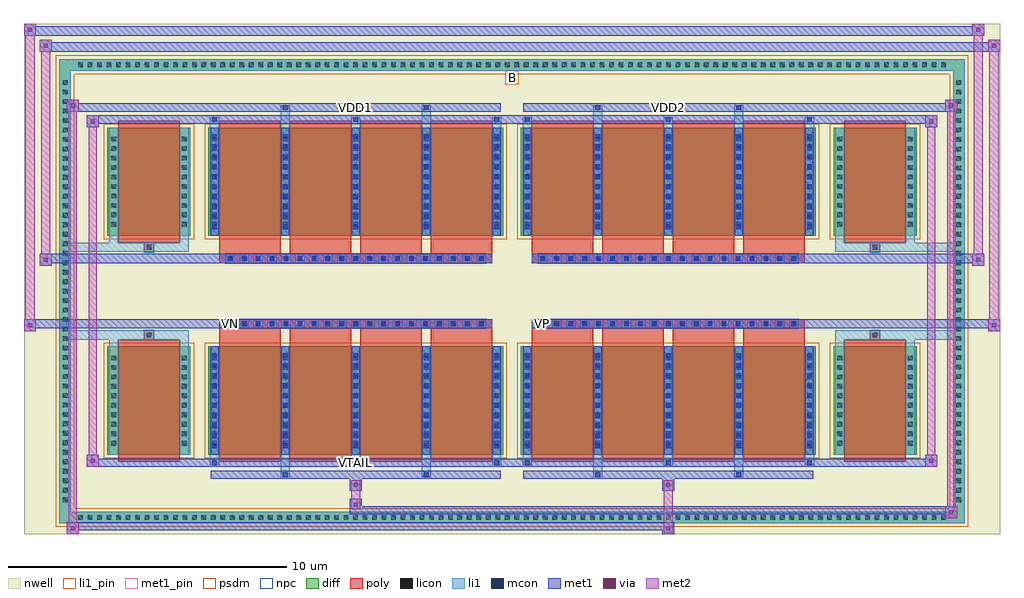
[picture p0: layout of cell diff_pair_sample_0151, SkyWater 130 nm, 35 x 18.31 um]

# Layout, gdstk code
import gdstk
lib = gdstk.Library(unit=1e-6, precision=5e-09)
def R(c, l, rs):  # rectangles x0, y0, x1, y1
    for r in rs: c.add(gdstk.rectangle(r[:2], r[2:], *l))
def A(c, l, x, y, w, h, nx, ny, dx, dy):  # array of equal rectangles
    R(c, l, [(x+i*dx, y+j*dy, x+i*dx+w, y+j*dy+h) for i in range(nx) for j in range(ny)])
def P(c, l, *ps):  # polygons
    for p in ps: c.add(gdstk.Polygon(p, *l))
nwell = (64, 20)
diff = (65, 20)
poly = (66, 20)
licon = (66, 44)
li1_pin = (67, 16)
li1 = (67, 20)
mcon = (67, 44)
met1_pin = (68, 16)
met1 = (68, 20)
via = (68, 44)
met2 = (69, 20)
psdm = (94, 20)
npc = (95, 20)

diff_pair_sample_0151 = lib.new_cell('diff_pair_sample_0151')
R(diff_pair_sample_0151, nwell, [(-17.5,-8.72,17.5,9.59), (-14.82,-6.91,-0.01,-0.805), (0.01,-6.91,14.82,-0.805), (-14.82,0.805,-0.01,6.91), (0.01,0.805,14.82,6.91)])
A(diff_pair_sample_0151, diff, -15.675, -8.32, 0.41, 0.41, 92, 2, 0.34, 16.23)
A(diff_pair_sample_0151, diff, -16.23, -7.685, 0.41, 0.41, 1, 45, 0, 0.34)
A(diff_pair_sample_0151, diff, 15.82, -7.685, 0.41, 0.41, 1, 45, 0, 0.34)
R(diff_pair_sample_0151, diff, [(-15.675,-8.32,15.675,-7.91), (-16.23,-7.685,-15.82,7.685), (15.82,-7.685,16.23,7.685), (-14.51,-5.865,-11.53,-1.985), (-10.89,-5.865,-0.32,-1.985), (0.32,-5.865,10.89,-1.985), (11.53,-5.865,14.51,-1.985), (-14.51,1.985,-11.53,5.865), (-10.89,1.985,-0.32,5.865), (0.32,1.985,10.89,5.865), (11.53,1.985,14.51,5.865), (-15.675,7.91,15.675,8.32)])
P(diff_pair_sample_0151, diff, [(16.23,8.32),(-16.23,8.32),(-16.23,-7.91),(-15.82,-7.91),(-15.82,7.91),(15.82,7.91),(15.82,-7.91),(-15.82,-7.91),(-16.23,-7.91),(-16.23,-8.32),(16.23,-8.32)])
A(diff_pair_sample_0151, poly, -10.5, -6.115, 2.2, 4.38, 4, 2, 2.53, 7.85)
A(diff_pair_sample_0151, poly, 0.71, -6.115, 2.2, 4.38, 4, 2, 2.53, 7.85)
A(diff_pair_sample_0151, poly, -10.5, -1.735, 2.2, 0.4, 4, 2, 2.53, 3.07)
A(diff_pair_sample_0151, poly, 0.71, -1.735, 2.2, 0.4, 4, 2, 2.53, 3.07)
A(diff_pair_sample_0151, poly, -10.27, -1.335, 0.33, 0.33, 19, 2, 0.5, 2.34)
A(diff_pair_sample_0151, poly, 0.94, -1.335, 0.33, 0.33, 19, 2, 0.5, 2.34)
R(diff_pair_sample_0151, poly, [(-14.12,-6.115,-11.92,-1.735), (11.92,-6.115,14.12,-1.735), (-13.185,-1.735,-12.855,-1.405), (-13.185,-1.735,-12.855,-1.405), (12.855,-1.735,13.185,-1.405), (12.855,-1.735,13.185,-1.405), (-10.5,-1.335,-0.71,-1.005), (0.71,-1.335,10.5,-1.005), (-10.5,1.005,-0.71,1.335), (0.71,1.005,10.5,1.335), (-13.185,1.405,-12.855,1.735), (-13.185,1.405,-12.855,1.735), (12.855,1.405,13.185,1.735), (12.855,1.405,13.185,1.735), (-14.12,1.735,-11.92,6.115), (11.92,1.735,14.12,6.115)])
A(diff_pair_sample_0151, licon, -15.555, -8.2, 0.17, 0.17, 92, 2, 0.34, 16.23)
A(diff_pair_sample_0151, licon, -16.11, -7.565, 0.17, 0.17, 1, 45, 0, 0.34)
A(diff_pair_sample_0151, licon, 15.94, -7.565, 0.17, 0.17, 1, 45, 0, 0.34)
A(diff_pair_sample_0151, licon, -14.37, -5.54, 0.17, 0.17, 1, 10, 0, 0.34)
A(diff_pair_sample_0151, licon, -11.84, -5.54, 0.17, 0.17, 1, 10, 0, 0.34)
A(diff_pair_sample_0151, licon, -10.75, -5.54, 0.17, 0.17, 5, 10, 2.53, 0.34)
A(diff_pair_sample_0151, licon, 0.46, -5.54, 0.17, 0.17, 5, 10, 2.53, 0.34)
A(diff_pair_sample_0151, licon, 11.67, -5.54, 0.17, 0.17, 1, 10, 0, 0.34)
A(diff_pair_sample_0151, licon, 14.2, -5.54, 0.17, 0.17, 1, 10, 0, 0.34)
A(diff_pair_sample_0151, licon, -10.19, -1.255, 0.17, 0.17, 19, 2, 0.5, 2.34)
A(diff_pair_sample_0151, licon, 1.02, -1.255, 0.17, 0.17, 19, 2, 0.5, 2.34)
A(diff_pair_sample_0151, licon, -14.37, 2.31, 0.17, 0.17, 1, 10, 0, 0.34)
A(diff_pair_sample_0151, licon, -11.84, 2.31, 0.17, 0.17, 1, 10, 0, 0.34)
A(diff_pair_sample_0151, licon, -10.75, 2.31, 0.17, 0.17, 5, 10, 2.53, 0.34)
A(diff_pair_sample_0151, licon, 0.46, 2.31, 0.17, 0.17, 5, 10, 2.53, 0.34)
A(diff_pair_sample_0151, licon, 11.67, 2.31, 0.17, 0.17, 1, 10, 0, 0.34)
A(diff_pair_sample_0151, licon, 14.2, 2.31, 0.17, 0.17, 1, 10, 0, 0.34)
R(diff_pair_sample_0151, licon, [(-13.105,-1.655,-12.935,-1.485), (12.935,-1.655,13.105,-1.485), (-13.105,1.485,-12.935,1.655), (12.935,1.485,13.105,1.655)])
R(diff_pair_sample_0151, li1_pin, [(-0.25,7.41,0.25,7.91)])
A(diff_pair_sample_0151, li1, -15.635, -8.28, 0.33, 0.33, 92, 2, 0.34, 16.23)
A(diff_pair_sample_0151, li1, -16.19, -7.645, 0.33, 0.33, 1, 45, 0, 0.34)
A(diff_pair_sample_0151, li1, 15.86, -7.645, 0.33, 0.33, 1, 45, 0, 0.34)
A(diff_pair_sample_0151, li1, -10.83, -6.24, 0.33, 0.375, 3, 2, 5.06, 12.105)
A(diff_pair_sample_0151, li1, -10.75, -6.24, 0.17, 0.17, 3, 2, 5.06, 12.31)
A(diff_pair_sample_0151, li1, 0.38, -6.24, 0.33, 0.375, 3, 2, 5.06, 12.105)
A(diff_pair_sample_0151, li1, 0.46, -6.24, 0.17, 0.17, 3, 2, 5.06, 12.31)
A(diff_pair_sample_0151, li1, -10.83, -5.865, 0.33, 3.88, 5, 2, 2.53, 7.85)
A(diff_pair_sample_0151, li1, 0.38, -5.865, 0.33, 3.88, 5, 2, 2.53, 7.85)
A(diff_pair_sample_0151, li1, -10.75, -5.63, 0.17, 0.17, 5, 10, 2.53, 0.36)
A(diff_pair_sample_0151, li1, -10.75, -5.63, 0.17, 3.41, 5, 2, 2.53, 7.85)
A(diff_pair_sample_0151, li1, 0.46, -5.63, 0.17, 0.17, 5, 10, 2.53, 0.36)
A(diff_pair_sample_0151, li1, 0.46, -5.63, 0.17, 3.41, 5, 2, 2.53, 7.85)
A(diff_pair_sample_0151, li1, -14.45, -5.62, 0.33, 0.33, 1, 10, 0, 0.34)
A(diff_pair_sample_0151, li1, -11.92, -5.62, 0.33, 0.33, 1, 10, 0, 0.34)
A(diff_pair_sample_0151, li1, -10.83, -5.62, 0.33, 0.33, 5, 10, 2.53, 0.34)
A(diff_pair_sample_0151, li1, 0.38, -5.62, 0.33, 0.33, 5, 10, 2.53, 0.34)
A(diff_pair_sample_0151, li1, 11.59, -5.62, 0.33, 0.33, 1, 10, 0, 0.34)
A(diff_pair_sample_0151, li1, 14.12, -5.62, 0.33, 0.33, 1, 10, 0, 0.34)
A(diff_pair_sample_0151, li1, -10.27, -1.335, 0.33, 0.33, 19, 2, 0.5, 2.34)
A(diff_pair_sample_0151, li1, 0.94, -1.335, 0.33, 0.33, 19, 2, 0.5, 2.34)
A(diff_pair_sample_0151, li1, -10.75, 2.22, 0.17, 0.17, 5, 10, 2.53, 0.36)
A(diff_pair_sample_0151, li1, 0.46, 2.22, 0.17, 0.17, 5, 10, 2.53, 0.36)
A(diff_pair_sample_0151, li1, -14.45, 2.23, 0.33, 0.33, 1, 10, 0, 0.34)
A(diff_pair_sample_0151, li1, -11.92, 2.23, 0.33, 0.33, 1, 10, 0, 0.34)
A(diff_pair_sample_0151, li1, -10.83, 2.23, 0.33, 0.33, 5, 10, 2.53, 0.34)
A(diff_pair_sample_0151, li1, 0.38, 2.23, 0.33, 0.33, 5, 10, 2.53, 0.34)
A(diff_pair_sample_0151, li1, 11.59, 2.23, 0.33, 0.33, 1, 10, 0, 0.34)
A(diff_pair_sample_0151, li1, 14.12, 2.23, 0.33, 0.33, 1, 10, 0, 0.34)
R(diff_pair_sample_0151, li1, [(-16.23,-8.32,-15.82,-7.91), (-16.23,-8.32,-15.82,-7.91), (-15.82,-8.32,15.82,-7.91), (15.82,-8.32,16.23,-7.91), (15.82,-8.32,16.23,-7.91), (-16.23,-7.91,-15.82,7.91), (15.82,-7.91,16.23,7.91), (-8.3,-6.67,-7.97,-5.865), (-8.22,-6.67,-8.05,-6.5), (-3.24,-6.67,-2.91,-5.865), (-3.16,-6.67,-2.99,-6.5), (2.91,-6.67,3.24,-5.865), (2.99,-6.67,3.16,-6.5), (7.97,-6.67,8.3,-5.865), (8.05,-6.67,8.22,-6.5), (-14.45,-5.865,-14.12,-1.985), (-11.92,-5.865,-11.59,-1.985), (11.59,-5.865,11.92,-1.985), (14.12,-5.865,14.45,-1.985), (-14.45,-1.985,-14.12,-1.405), (-11.92,-1.985,-11.59,-1.405), (11.59,-1.985,11.92,-1.405), (14.12,-1.985,14.45,-1.405), (-16.23,-1.735,-13.185,-1.405), (-14.45,-1.735,-13.185,-1.405), (-13.185,-1.735,-12.855,-1.405), (-12.855,-1.735,-11.59,-1.405), (11.59,-1.735,12.855,-1.405), (12.855,-1.735,13.185,-1.405), (12.855,-1.735,16.23,-1.405), (13.185,-1.735,14.45,-1.405), (-16.23,1.405,-13.185,1.735), (-14.45,1.405,-13.185,1.735), (-14.45,1.405,-14.12,1.985), (-13.185,1.405,-12.855,1.735), (-12.855,1.405,-11.59,1.735), (-11.92,1.405,-11.59,1.985), (11.59,1.405,12.855,1.735), (11.59,1.405,11.92,1.985), (12.855,1.405,13.185,1.735), (12.855,1.405,16.23,1.735), (13.185,1.405,14.45,1.735), (14.12,1.405,14.45,1.985), (-14.45,1.985,-14.12,5.865), (-11.92,1.985,-11.59,5.865), (11.59,1.985,11.92,5.865), (14.12,1.985,14.45,5.865), (-8.3,5.865,-7.97,6.67), (-3.24,5.865,-2.91,6.67), (2.91,5.865,3.24,6.67), (7.97,5.865,8.3,6.67), (-8.22,6.5,-8.05,6.67), (-3.16,6.5,-2.99,6.67), (2.99,6.5,3.16,6.67), (8.05,6.5,8.22,6.67), (-16.23,7.91,-15.82,8.32), (-16.23,7.91,-15.82,8.32), (-15.82,7.91,15.82,8.32), (15.82,7.91,16.23,8.32), (15.82,7.91,16.23,8.32)])
A(diff_pair_sample_0151, mcon, -10.75, -6.24, 0.17, 0.17, 3, 2, 5.06, 12.31)
A(diff_pair_sample_0151, mcon, 0.46, -6.24, 0.17, 0.17, 3, 2, 5.06, 12.31)
A(diff_pair_sample_0151, mcon, -10.75, -5.63, 0.17, 0.17, 5, 10, 2.53, 0.36)
A(diff_pair_sample_0151, mcon, 0.46, -5.63, 0.17, 0.17, 5, 10, 2.53, 0.36)
A(diff_pair_sample_0151, mcon, -10.19, -1.255, 0.17, 0.17, 19, 2, 0.5, 2.34)
A(diff_pair_sample_0151, mcon, 1.02, -1.255, 0.17, 0.17, 19, 2, 0.5, 2.34)
A(diff_pair_sample_0151, mcon, -10.75, 2.22, 0.17, 0.17, 5, 10, 2.53, 0.36)
A(diff_pair_sample_0151, mcon, 0.46, 2.22, 0.17, 0.17, 5, 10, 2.53, 0.36)
R(diff_pair_sample_0151, mcon, [(-8.22,-6.67,-8.05,-6.5), (-3.16,-6.67,-2.99,-6.5), (2.99,-6.67,3.16,-6.5), (8.05,-6.67,8.22,-6.5), (-8.22,6.5,-8.05,6.67), (-3.16,6.5,-2.99,6.67), (2.99,6.5,3.16,6.67), (8.05,6.5,8.22,6.67)])
R(diff_pair_sample_0151, met1_pin, [(-5.74,-6.28,-5.47,-6.01), (-10.24,-1.295,-9.97,-1.025), (0.97,-1.295,1.24,-1.025), (-5.74,6.46,-5.47,6.73), (5.47,6.46,5.74,6.73)])
A(diff_pair_sample_0151, met1, -10.81, -6.3, 0.29, 0.29, 3, 2, 5.06, 12.31)
A(diff_pair_sample_0151, met1, 0.4, -6.3, 0.29, 0.29, 3, 2, 5.06, 12.31)
A(diff_pair_sample_0151, met1, -10.81, -5.865, 0.29, 3.88, 5, 2, 2.53, 7.85)
A(diff_pair_sample_0151, met1, 0.4, -5.865, 0.29, 3.88, 5, 2, 2.53, 7.85)
A(diff_pair_sample_0151, met1, -10.81, -5.69, 0.29, 0.29, 5, 10, 2.53, 0.36)
A(diff_pair_sample_0151, met1, 0.4, -5.69, 0.29, 0.29, 5, 10, 2.53, 0.36)
A(diff_pair_sample_0151, met1, -10.25, -1.315, 0.29, 0.29, 19, 2, 0.5, 2.34)
A(diff_pair_sample_0151, met1, 0.96, -1.315, 0.29, 0.29, 19, 2, 0.5, 2.34)
A(diff_pair_sample_0151, met1, -10.81, 2.16, 0.29, 0.29, 5, 10, 2.53, 0.36)
A(diff_pair_sample_0151, met1, 0.4, 2.16, 0.29, 0.29, 5, 10, 2.53, 0.36)
R(diff_pair_sample_0151, met1, [(-15.96,-8.72,-15.53,-8.29), (5.39,-8.72,5.82,-8.29), (-15.96,-8.58,5.82,-8.29), (15.53,-8.15,15.96,-7.72), (-5.82,-8.01,15.96,-7.72), (-5.82,-7.87,-5.39,-7.44), (-5.82,-7.16,-5.39,-6.73), (5.39,-7.16,5.82,-6.73), (-10.81,-6.73,-0.4,-6.44), (-8.28,-6.73,-7.99,-6.44), (-3.22,-6.73,-2.93,-6.44), (0.4,-6.73,10.81,-6.44), (2.93,-6.73,3.22,-6.44), (7.99,-6.73,8.28,-6.44), (-15.25,-6.3,-14.82,-5.87), (-15.25,-6.3,-10.81,-6.01), (-10.81,-6.3,-0.4,-6.01), (-0.4,-6.3,0.4,-6.01), (0.4,-6.3,10.81,-6.01), (10.81,-6.3,15.25,-6.01), (14.82,-6.3,15.25,-5.87), (-17.5,-1.435,-17.07,-1.005), (17.07,-1.435,17.5,-1.005), (-17.5,-1.335,-0.71,-1.005), (-10.5,-1.335,-0.71,-1.005), (0.71,-1.335,10.5,-1.005), (0.71,-1.335,17.5,-1.005), (-16.93,0.905,-16.5,1.335), (16.5,0.905,16.93,1.335), (-16.93,1.005,-10.5,1.335), (-10.5,1.005,-0.71,1.335), (0.71,1.005,10.5,1.335), (10.5,1.005,16.93,1.335), (-15.25,5.87,-14.82,6.3), (14.82,5.87,15.25,6.3), (-15.25,6.01,-10.81,6.3), (-10.81,6.01,-0.4,6.3), (-0.4,6.01,0.4,6.3), (0.4,6.01,10.81,6.3), (10.81,6.01,15.25,6.3), (-15.96,6.44,-15.53,6.87), (-15.96,6.44,-10.81,6.73), (-10.81,6.44,-0.4,6.73), (-8.28,6.44,-7.99,6.73), (-3.22,6.44,-2.93,6.73), (0.4,6.44,10.81,6.73), (2.93,6.44,3.22,6.73), (7.99,6.44,8.28,6.73), (10.81,6.44,15.96,6.73), (15.53,6.44,15.96,6.87), (-16.93,8.59,-16.5,9.02), (-16.93,8.59,-14.82,8.92), (-14.82,8.59,14.82,8.92), (14.82,8.59,17.5,8.92), (17.07,8.59,17.5,9.02), (-17.5,9.16,-17.07,9.59), (-17.5,9.16,-14.82,9.49), (-14.82,9.16,14.82,9.49), (14.82,9.16,16.93,9.49), (16.5,9.16,16.93,9.59)])
R(diff_pair_sample_0151, via, [(-15.82,-8.58,-15.67,-8.43), (5.53,-8.58,5.68,-8.43), (15.67,-8.01,15.82,-7.86), (-5.68,-7.73,-5.53,-7.58), (-5.68,-7.02,-5.53,-6.87), (5.53,-7.02,5.68,-6.87), (-15.11,-6.16,-14.96,-6.01), (14.96,-6.16,15.11,-6.01), (-17.36,-1.295,-17.21,-1.145), (17.21,-1.295,17.36,-1.145), (-16.79,1.045,-16.64,1.195), (16.64,1.045,16.79,1.195), (-15.11,6.01,-14.96,6.16), (14.96,6.01,15.11,6.16), (-15.82,6.58,-15.67,6.73), (15.67,6.58,15.82,6.73), (-16.79,8.73,-16.64,8.88), (17.21,8.73,17.36,8.88), (-17.36,9.3,-17.21,9.45), (16.64,9.3,16.79,9.45)])
R(diff_pair_sample_0151, met2, [(-15.96,-8.72,-15.53,-8.29), (-15.89,-8.72,-15.6,6.87), (-15.6,-8.72,-15.53,-8.29), (-15.91,-8.67,-15.58,-8.34), (5.44,-8.67,5.77,-8.34), (5.44,-8.34,5.77,-7.11), (15.53,-8.15,15.96,-7.72), (15.6,-8.15,15.89,6.87), (15.89,-8.15,15.96,-7.72), (15.58,-8.1,15.91,-7.77), (-5.77,-7.82,-5.44,-7.49), (-5.77,-7.49,-5.44,-7.11), (-5.77,-7.11,-5.44,-6.78), (5.44,-7.11,5.77,-6.78), (-15.25,-6.3,-14.82,-5.87), (-15.18,-6.3,-14.89,6.3), (-14.89,-6.3,-14.82,-5.87), (14.82,-6.3,15.25,-5.87), (14.89,-6.3,15.18,6.3), (15.18,-6.3,15.25,-5.87), (-15.2,-6.25,-14.87,-5.92), (14.87,-6.25,15.2,-5.92), (-17.5,-1.435,-17.07,-1.005), (-17.45,-1.435,-17.12,9.59), (-17.12,-1.435,-17.07,-1.005), (17.07,-1.435,17.5,-1.005), (17.12,-1.435,17.45,9.02), (17.45,-1.435,17.5,-1.005), (-17.45,-1.385,-17.12,-1.055), (17.12,-1.385,17.45,-1.055), (-16.93,0.905,-16.5,1.335), (-16.88,0.905,-16.55,9.02), (-16.55,0.905,-16.5,1.335), (16.5,0.905,16.93,1.335), (16.55,0.905,16.88,9.59), (16.88,0.905,16.93,1.335), (-16.88,0.955,-16.55,1.285), (16.55,0.955,16.88,1.285), (-15.25,5.87,-14.82,6.3), (-14.89,5.87,-14.82,6.3), (14.82,5.87,15.25,6.3), (15.18,5.87,15.25,6.3), (-15.2,5.92,-14.87,6.25), (14.87,5.92,15.2,6.25), (-15.96,6.44,-15.53,6.87), (-15.6,6.44,-15.53,6.87), (15.53,6.44,15.96,6.87), (15.89,6.44,15.96,6.87), (-15.91,6.49,-15.58,6.82), (15.58,6.49,15.91,6.82), (-16.93,8.59,-16.5,9.02), (-16.55,8.59,-16.5,9.02), (17.07,8.59,17.5,9.02), (17.45,8.59,17.5,9.02), (-16.88,8.64,-16.55,8.97), (17.12,8.64,17.45,8.97), (-17.5,9.16,-17.07,9.59), (-17.12,9.16,-17.07,9.59), (16.5,9.16,16.93,9.59), (16.88,9.16,16.93,9.59), (-17.45,9.21,-17.12,9.54), (16.55,9.21,16.88,9.54)])
R(diff_pair_sample_0151, psdm, [(-14.64,-5.995,-11.4,-1.855), (-11.02,-5.995,-0.19,-1.855), (0.19,-5.995,11.02,-1.855), (11.4,-5.995,14.64,-1.855), (-14.64,1.855,-11.4,5.995), (-11.02,1.855,-0.19,5.995), (0.19,1.855,11.02,5.995), (11.4,1.855,14.64,5.995)])
P(diff_pair_sample_0151, psdm, [(16.36,8.45),(-16.36,8.45),(-16.36,-7.78),(-15.69,-7.78),(-15.69,7.78),(15.69,7.78),(15.69,-7.78),(-15.69,-7.78),(-16.36,-7.78),(-16.36,-8.45),(16.36,-8.45)])
A(diff_pair_sample_0151, npc, -10.29, -1.355, 0.37, 0.37, 19, 2, 0.5, 2.34)
A(diff_pair_sample_0151, npc, 0.92, -1.355, 0.37, 0.37, 19, 2, 0.5, 2.34)
R(diff_pair_sample_0151, npc, [(-13.205,-1.755,-12.835,-1.385), (12.835,-1.755,13.205,-1.385), (-10.29,-1.355,-9.42,-0.985), (-10.29,-1.355,-9.42,-0.985), (-9.79,-1.355,-8.92,-0.985), (-9.79,-1.355,-8.92,-0.985), (-9.29,-1.355,-8.42,-0.985), (-9.29,-1.355,-8.42,-0.985), (-8.79,-1.355,-7.92,-0.985), (-8.79,-1.355,-7.92,-0.985), (-8.29,-1.355,-7.42,-0.985), (-8.29,-1.355,-7.42,-0.985), (-7.79,-1.355,-6.92,-0.985), (-7.79,-1.355,-6.92,-0.985), (-7.29,-1.355,-6.42,-0.985), (-7.29,-1.355,-6.42,-0.985), (-6.79,-1.355,-5.92,-0.985), (-6.79,-1.355,-5.92,-0.985), (-6.29,-1.355,-5.42,-0.985), (-6.29,-1.355,-5.42,-0.985), (-5.79,-1.355,-4.92,-0.985), (-5.79,-1.355,-4.92,-0.985), (-5.29,-1.355,-4.42,-0.985), (-5.29,-1.355,-4.42,-0.985), (-4.79,-1.355,-3.92,-0.985), (-4.79,-1.355,-3.92,-0.985), (-4.29,-1.355,-3.42,-0.985), (-4.29,-1.355,-3.42,-0.985), (-3.79,-1.355,-2.92,-0.985), (-3.79,-1.355,-2.92,-0.985), (-3.29,-1.355,-2.42,-0.985), (-3.29,-1.355,-2.42,-0.985), (-2.79,-1.355,-1.92,-0.985), (-2.79,-1.355,-1.92,-0.985), (-2.29,-1.355,-1.42,-0.985), (-2.29,-1.355,-1.42,-0.985), (-1.79,-1.355,-0.92,-0.985), (-1.79,-1.355,-0.92,-0.985), (0.92,-1.355,1.79,-0.985), (0.92,-1.355,1.79,-0.985), (1.42,-1.355,2.29,-0.985), (1.42,-1.355,2.29,-0.985), (1.92,-1.355,2.79,-0.985), (1.92,-1.355,2.79,-0.985), (2.42,-1.355,3.29,-0.985), (2.42,-1.355,3.29,-0.985), (2.92,-1.355,3.79,-0.985), (2.92,-1.355,3.79,-0.985), (3.42,-1.355,4.29,-0.985), (3.42,-1.355,4.29,-0.985), (3.92,-1.355,4.79,-0.985), (3.92,-1.355,4.79,-0.985), (4.42,-1.355,5.29,-0.985), (4.42,-1.355,5.29,-0.985), (4.92,-1.355,5.79,-0.985), (4.92,-1.355,5.79,-0.985), (5.42,-1.355,6.29,-0.985), (5.42,-1.355,6.29,-0.985), (5.92,-1.355,6.79,-0.985), (5.92,-1.355,6.79,-0.985), (6.42,-1.355,7.29,-0.985), (6.42,-1.355,7.29,-0.985), (6.92,-1.355,7.79,-0.985), (6.92,-1.355,7.79,-0.985), (7.42,-1.355,8.29,-0.985), (7.42,-1.355,8.29,-0.985), (7.92,-1.355,8.79,-0.985), (7.92,-1.355,8.79,-0.985), (8.42,-1.355,9.29,-0.985), (8.42,-1.355,9.29,-0.985), (8.92,-1.355,9.79,-0.985), (8.92,-1.355,9.79,-0.985), (9.42,-1.355,10.29,-0.985), (9.42,-1.355,10.29,-0.985), (-10.29,0.985,-9.42,1.355), (-10.29,0.985,-9.42,1.355), (-9.79,0.985,-8.92,1.355), (-9.79,0.985,-8.92,1.355), (-9.29,0.985,-8.42,1.355), (-9.29,0.985,-8.42,1.355), (-8.79,0.985,-7.92,1.355), (-8.79,0.985,-7.92,1.355), (-8.29,0.985,-7.42,1.355), (-8.29,0.985,-7.42,1.355), (-7.79,0.985,-6.92,1.355), (-7.79,0.985,-6.92,1.355), (-7.29,0.985,-6.42,1.355), (-7.29,0.985,-6.42,1.355), (-6.79,0.985,-5.92,1.355), (-6.79,0.985,-5.92,1.355), (-6.29,0.985,-5.42,1.355), (-6.29,0.985,-5.42,1.355), (-5.79,0.985,-4.92,1.355), (-5.79,0.985,-4.92,1.355), (-5.29,0.985,-4.42,1.355), (-5.29,0.985,-4.42,1.355), (-4.79,0.985,-3.92,1.355), (-4.79,0.985,-3.92,1.355), (-4.29,0.985,-3.42,1.355), (-4.29,0.985,-3.42,1.355), (-3.79,0.985,-2.92,1.355), (-3.79,0.985,-2.92,1.355), (-3.29,0.985,-2.42,1.355), (-3.29,0.985,-2.42,1.355), (-2.79,0.985,-1.92,1.355), (-2.79,0.985,-1.92,1.355), (-2.29,0.985,-1.42,1.355), (-2.29,0.985,-1.42,1.355), (-1.79,0.985,-0.92,1.355), (-1.79,0.985,-0.92,1.355), (0.92,0.985,1.79,1.355), (0.92,0.985,1.79,1.355), (1.42,0.985,2.29,1.355), (1.42,0.985,2.29,1.355), (1.92,0.985,2.79,1.355), (1.92,0.985,2.79,1.355), (2.42,0.985,3.29,1.355), (2.42,0.985,3.29,1.355), (2.92,0.985,3.79,1.355), (2.92,0.985,3.79,1.355), (3.42,0.985,4.29,1.355), (3.42,0.985,4.29,1.355), (3.92,0.985,4.79,1.355), (3.92,0.985,4.79,1.355), (4.42,0.985,5.29,1.355), (4.42,0.985,5.29,1.355), (4.92,0.985,5.79,1.355), (4.92,0.985,5.79,1.355), (5.42,0.985,6.29,1.355), (5.42,0.985,6.29,1.355), (5.92,0.985,6.79,1.355), (5.92,0.985,6.79,1.355), (6.42,0.985,7.29,1.355), (6.42,0.985,7.29,1.355), (6.92,0.985,7.79,1.355), (6.92,0.985,7.79,1.355), (7.42,0.985,8.29,1.355), (7.42,0.985,8.29,1.355), (7.92,0.985,8.79,1.355), (7.92,0.985,8.79,1.355), (8.42,0.985,9.29,1.355), (8.42,0.985,9.29,1.355), (8.92,0.985,9.79,1.355), (8.92,0.985,9.79,1.355), (9.42,0.985,10.29,1.355), (9.42,0.985,10.29,1.355), (-13.205,1.385,-12.835,1.755), (12.835,1.385,13.205,1.755)])
diff_pair_sample_0151.add(gdstk.Label('VTAIL', (-5.605,-6.145), layer=68, texttype=5))
diff_pair_sample_0151.add(gdstk.Label('VN', (-10.105,-1.16), layer=68, texttype=5))
diff_pair_sample_0151.add(gdstk.Label('VP', (1.105,-1.16), layer=68, texttype=5))
diff_pair_sample_0151.add(gdstk.Label('B', (0,7.66), layer=67, texttype=5))
diff_pair_sample_0151.add(gdstk.Label('VDD2', (5.605,6.595), layer=68, texttype=5))
diff_pair_sample_0151.add(gdstk.Label('VDD1', (-5.605,6.595), layer=68, texttype=5))

lib.write_gds('diff_pair_sample_0151.gds')
